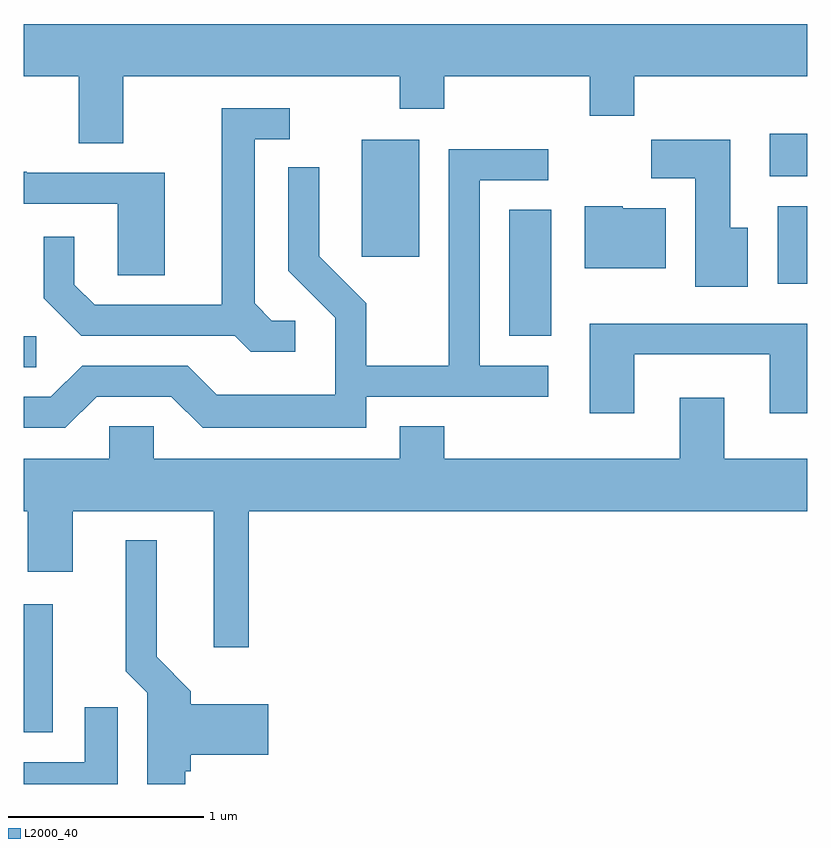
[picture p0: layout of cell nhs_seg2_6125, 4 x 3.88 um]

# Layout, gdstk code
import gdstk
lib = gdstk.Library(unit=1e-6, precision=1e-09)
def R(c, l, rs):  # rectangles x0, y0, x1, y1
    for r in rs: c.add(gdstk.rectangle(r[:2], r[2:], *l))
def P(c, l, *ps):  # polygons
    for p in ps: c.add(gdstk.Polygon(p, *l))
L2000_40 = (2000, 40)

nhs_seg2_6125 = lib.new_cell('nhs_seg2_6125')
R(nhs_seg2_6125, L2000_40, [(365.611,1056.066,365.759,1056.719), (365.611,1057.931,365.673,1058.089), (368.091,1058.091,368.304,1058.734), (369.461,1058.356,369.611,1058.754), (367.336,1058.496,367.629,1059.094), (369.421,1058.906,369.611,1059.124)])
P(nhs_seg2_6125, L2000_40, [(366.119,1059.416),(367.531,1059.416),(367.531,1059.251),(367.759,1059.251),(367.759,1059.416),(368.501,1059.416),(368.501,1059.216),(368.729,1059.216),(368.729,1059.416),(369.611,1059.416),(369.611,1059.684),(365.611,1059.684),(365.611,1059.416),(365.891,1059.416),(365.891,1059.076),(366.119,1059.076)],
  [(366.998,1058.169),(366.877,1058.169),(366.789,1058.257),(366.789,1059.096),(366.968,1059.096),(366.968,1059.254),(366.621,1059.254),(366.621,1058.249),(365.972,1058.249),(365.869,1058.352),(365.869,1058.598),(365.711,1058.598),(365.711,1058.284),(365.904,1058.091),(366.689,1058.091),(366.769,1058.011),(366.998,1058.011)],
  [(369.309,1058.644),(369.219,1058.644),(369.219,1059.094),(368.816,1059.094),(368.816,1058.896),(369.041,1058.896),(369.041,1058.341),(369.309,1058.341)],
  [(365.982,1057.781),(366.364,1057.781),(366.524,1057.621),(367.359,1057.621),(367.359,1057.781),(368.288,1057.781),(368.288,1057.939),(367.939,1057.939),(367.939,1058.886),(368.288,1058.886),(368.288,1059.044),(367.781,1059.044),(367.781,1057.939),(367.359,1057.939),(367.359,1058.257),(367.119,1058.497),(367.119,1058.953),(366.961,1058.953),(366.961,1058.424),(367.201,1058.184),(367.201,1057.789),(366.597,1057.789),(366.447,1057.939),(365.909,1057.939),(365.749,1057.779),(365.611,1057.779),(365.611,1057.621),(365.822,1057.621)],
  [(366.329,1058.924),(365.625,1058.924),(365.625,1058.929),(365.611,1058.929),(365.611,1058.766),(366.091,1058.766),(366.091,1058.401),(366.329,1058.401)],
  [(368.889,1058.744),(368.67,1058.744),(368.67,1058.754),(368.476,1058.754),(368.476,1058.436),(368.889,1058.436)],
  [(368.729,1057.996),(369.421,1057.996),(369.421,1057.696),(369.611,1057.696),(369.611,1058.154),(368.501,1058.154),(368.501,1057.696),(368.729,1057.696)],
  [(366.759,1057.196),(369.611,1057.196),(369.611,1057.464),(369.189,1057.464),(369.189,1057.774),(368.961,1057.774),(368.961,1057.464),(367.759,1057.464),(367.759,1057.629),(367.531,1057.629),(367.531,1057.464),(366.274,1057.464),(366.274,1057.629),(366.046,1057.629),(366.046,1057.464),(365.611,1057.464),(365.611,1057.196),(365.631,1057.196),(365.631,1056.886),(365.859,1056.886),(365.859,1057.196),(366.581,1057.196),(366.581,1056.501),(366.759,1056.501)],
  [(366.434,1055.866),(366.464,1055.866),(366.464,1055.951),(366.859,1055.951),(366.859,1056.209),(366.464,1056.209),(366.464,1056.277),(366.289,1056.452),(366.289,1057.048),(366.131,1057.048),(366.131,1056.379),(366.241,1056.269),(366.241,1055.802),(366.434,1055.802)],
  [(366.089,1056.193),(365.921,1056.193),(365.921,1055.914),(365.611,1055.914),(365.611,1055.802),(366.089,1055.802)])

lib.write_gds('nhs_seg2_6125.gds')
